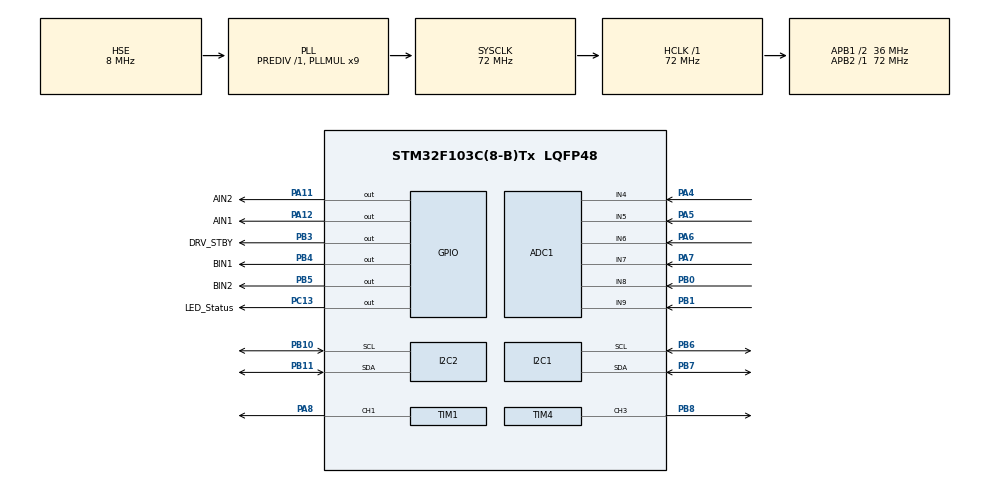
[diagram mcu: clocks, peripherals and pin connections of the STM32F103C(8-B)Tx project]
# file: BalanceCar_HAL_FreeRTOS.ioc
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ADC1.Channel-0\#ChannelRegularConversion=ADC_CHANNEL_6
ADC1.NbrOfConversionFlag=1
ADC1.Rank-0\#ChannelRegularConversion=1
ADC1.SamplingTime-0\#ChannelRegularConversion=ADC_SAMPLETIME_1CYCLE_5
ADC1.master=1
Dma.Request0=TIM1_CH1
Dma.TIM1_CH1.0.Direction=DMA_MEMORY_TO_PERIPH
Dma.TIM1_CH1.0.Instance=DMA1_Channel2
Dma.TIM1_CH1.0.MemDataAlignment=DMA_MDATAALIGN_HALFWORD
Dma.TIM1_CH1.0.MemInc=DMA_MINC_ENABLE
Dma.TIM1_CH1.0.Mode=DMA_CIRCULAR
Dma.TIM1_CH1.0.PeriphDataAlignment=DMA_PDATAALIGN_HALFWORD
Dma.TIM1_CH1.0.PeriphInc=DMA_PINC_DISABLE
Dma.TIM1_CH1.0.Priority=DMA_PRIORITY_LOW
Mcu.Family=STM32F1
Mcu.Name=STM32F103C(8-B)Tx
Mcu.Package=LQFP48
NVIC.DMA1_Channel2_IRQn=true\:0\:0\:false\:false\:true\:false\:true\:true
NVIC.PriorityGroup=NVIC_PRIORITYGROUP_4
NVIC.TIM3_IRQn=true\:15\:0\:false\:false\:true\:false\:true\:true
NVIC.TimeBase=TIM3_IRQn
NVIC.TimeBaseIP=TIM3
PA10.Signal=S_TIM1_CH3
PA11.GPIO_Label=AIN2
PA11.Signal=GPIO_Output
PA12.GPIO_Label=AIN1
PA12.Signal=GPIO_Output
PA13.Mode=Serial_Wire
PA13.Signal=SYS_JTMS-SWDIO
PA14.Mode=Serial_Wire
PA14.Signal=SYS_JTCK-SWCLK
PA4.Signal=ADCx_IN4
PA5.Signal=ADCx_IN5
PA6.Signal=ADCx_IN6
PA7.Signal=ADCx_IN7
PA8.Signal=S_TIM1_CH1
PB0.Signal=ADCx_IN8
PB1.Signal=ADCx_IN9
PB10.Mode=I2C
PB10.Signal=I2C2_SCL
PB11.Mode=I2C
PB11.Signal=I2C2_SDA
PB3.GPIO_Label=DRV_STBY
PB3.Signal=GPIO_Output
PB4.GPIO_Label=BIN1
PB4.Signal=GPIO_Output
PB5.GPIO_Label=BIN2
PB5.Signal=GPIO_Output
PB6.Mode=I2C
PB6.Signal=I2C1_SCL
PB7.Mode=I2C
PB7.Signal=I2C1_SDA
PB8.Signal=S_TIM4_CH3
PB9.Signal=S_TIM4_CH4
PC13-TAMPER-RTC.GPIO_Label=LED_Status
PC13-TAMPER-RTC.Signal=GPIO_Output
PD0-OSC_IN.Mode=HSE-External-Oscillator
PD0-OSC_IN.Signal=RCC_OSC_IN
PD1-OSC_OUT.Mode=HSE-External-Oscillator
PD1-OSC_OUT.Signal=RCC_OSC_OUT
ProjectManager.HeapSize=0x200
ProjectManager.StackSize=0x400
ProjectManager.TargetToolchain=MDK-ARM V5
RCC.ADCPresc=RCC_ADCPCLK2_DIV6
RCC.AHBFreq_Value=72000000
RCC.APB1CLKDivider=RCC_HCLK_DIV2
RCC.APB1Freq_Value=36000000
RCC.APB1TimFreq_Value=72000000
RCC.APB2Freq_Value=72000000
RCC.APB2TimFreq_Value=72000000
RCC.HCLKFreq_Value=72000000
RCC.PLLMUL=RCC_PLL_MUL9
RCC.PLLSourceVirtual=RCC_PLLSOURCE_HSE
RCC.SYSCLKFreq_VALUE=72000000
RCC.SYSCLKSource=RCC_SYSCLKSOURCE_PLLCLK
RCC.USBFreq_Value=72000000
SH.ADCx_IN4.0=ADC1_IN4,IN4
SH.ADCx_IN5.0=ADC1_IN5,IN5
SH.ADCx_IN6.0=ADC1_IN6,IN6
SH.ADCx_IN7.0=ADC1_IN7,IN7
SH.ADCx_IN8.0=ADC1_IN8,IN8
SH.ADCx_IN9.0=ADC1_IN9,IN9
SH.S_TIM1_CH1.0=TIM1_CH1,PWM Generation1 CH1
SH.S_TIM1_CH3.0=TIM1_CH3
SH.S_TIM4_CH3.0=TIM4_CH3,PWM Generation3 CH3
SH.S_TIM4_CH4.0=TIM4_CH4
TIM1.Channel-PWM\ Generation1\ CH1=TIM_CHANNEL_1
TIM1.OCFastMode_PWM-PWM\ Generation1\ CH1=TIM_OCFAST_DISABLE
TIM1.Period=89
TIM1.Prescaler=0
TIM4.Channel-PWM\ Generation3\ CH3=TIM_CHANNEL_3
TIM4.Period=99
TIM4.Prescaler=71
VP_SYS_VS_tim3.Mode=TIM3
VP_TIM4_VS_ClockSourceINT.Mode=Internal
board=custom

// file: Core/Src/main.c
/* USER CODE BEGIN Header */
/**
  ******************************************************************************
  * @file           : main.c
  * @brief          : Main program body
  ******************************************************************************
  * @attention
  *
  * Copyright (c) 2023 STMicroelectronics.
  * All rights reserved.
  *
  * This software is licensed under terms that can be found in the LICENSE file
  * in the root directory of this software component.
  * If no LICENSE file comes with this software, it is provided AS-IS.
  *
  ******************************************************************************
  */
/* USER CODE END Header */
#include "main.h"
#include "adc.h"
#include "dma.h"
#include "i2c.h"
#include "tim.h"
#include "gpio.h"

/* USER CODE BEGIN Includes */
#include "driver_led.h"
/* USER CODE END Includes */

/* USER CODE BEGIN PD */
#define LEFT_FORWARD_PORT   GPIOA
#define LEFT_FORWARD_PIN    GPIO_PIN_12

#define LEFT_REVERSE_PORT   GPIOA
#define LEFT_REVERSE_PIN    GPIO_PIN_11

#define RIGHT_FORWARD_PORT  GPIOB
#define RIGHT_FORWARD_PIN   GPIO_PIN_4

#define RIGHT_REVERSE_PORT  GPIOB
#define RIGHT_REVERSE_PIN   GPIO_PIN_5

#define MotorEnable_GPIO_Port GPIOB
#define MotorEnable_Pin GPIO_PIN_3
/* USER CODE END PD */

/* USER CODE BEGIN PM */
#define LeftForward()       HAL_GPIO_WritePin(LEFT_FORWARD_PORT, LEFT_FORWARD_PIN, GPIO_PIN_SET); \
                            HAL_GPIO_WritePin(LEFT_REVERSE_PORT, LEFT_REVERSE_PIN, GPIO_PIN_RESET);

#define LeftReverse()       HAL_GPIO_WritePin(LEFT_FORWARD_PORT, LEFT_FORWARD_PIN, GPIO_PIN_RESET); \
                            HAL_GPIO_WritePin(LEFT_REVERSE_PORT, LEFT_REVERSE_PIN, GPIO_PIN_SET);

#define RightForward()      HAL_GPIO_WritePin(RIGHT_FORWARD_PORT, RIGHT_FORWARD_PIN, GPIO_PIN_SET); \
                            HAL_GPIO_WritePin(RIGHT_REVERSE_PORT, RIGHT_REVERSE_PIN, GPIO_PIN_RESET);

#define RightReverse()      HAL_GPIO_WritePin(RIGHT_FORWARD_PORT, RIGHT_FORWARD_PIN, GPIO_PIN_RESET); \
                            HAL_GPIO_WritePin(RIGHT_REVERSE_PORT, RIGHT_REVERSE_PIN, GPIO_PIN_SET);

#define SetPWM1DutyCycle()  __HAL_TIM_SET_COMPARE(&htim1, TIM_CHANNEL_3, pwm1_duty_cycle)

#define SetPWM2DutyCycle()  __HAL_TIM_SET_COMPARE(&htim4, TIM_CHANNEL_3, pwm2_duty_cycle)

#define MotorEnable()       HAL_GPIO_WritePin(MotorEnable_GPIO_Port, MotorEnable_Pin, GPIO_PIN_SET);

/* USER CODE END PM */

/* USER CODE BEGIN PV */
uint16_t pwm1_duty_cycle = 10;
uint16_t pwm2_duty_cycle = 35;
/* USER CODE END PV */

void SystemClock_Config(void);

int main(void)
{

  /* MCU Configuration--------------------------------------------------------*/

  /* Reset of all peripherals, Initializes the Flash interface and the Systick. */
  HAL_Init();

  /* Configure the system clock */
  SystemClock_Config();

  /* Initialize all configured peripherals */
  MX_GPIO_Init();
  MX_DMA_Init();
  MX_I2C1_Init();
  MX_ADC1_Init();
  MX_I2C2_Init();
  MX_TIM1_Init();
  MX_TIM4_Init();
  /* USER CODE BEGIN 2 */
  HAL_TIM_PWM_Start(&htim1,TIM_CHANNEL_3);
  HAL_TIM_PWM_Start(&htim4,TIM_CHANNEL_3);
  /* USER CODE END 2 */

  /* Infinite loop */
  /* USER CODE BEGIN WHILE */
  while (1)
  {
//      MotorEnable();
//      LeftForward();
//      SetPWM1DutyCycle();
//      RightReverse();
//      SetPWM2DutyCycle();
//
//      HAL_Delay(100);

    WS2812_Number_4(0x180000,0x001800,0x000018,0);
    HAL_Delay(500);
    WS2812_Number_4(0,0x180000,0x001800,0x000018);
    HAL_Delay(500);
    WS2812_Number_4(0x000018,0,0x180000,0x001800);
    HAL_Delay(500);
    WS2812_Number_4(0x001800,0x000018,0,0x180000);
    HAL_Delay(500);
    /* USER CODE END WHILE */

  }
}

void SystemClock_Config(void)
{
  RCC_OscInitTypeDef RCC_OscInitStruct = {0};
  RCC_ClkInitTypeDef RCC_ClkInitStruct = {0};
  RCC_PeriphCLKInitTypeDef PeriphClkInit = {0};

  /** Initializes the RCC Oscillators according to the specified parameters
  * in the RCC_OscInitTypeDef structure.
  */
  RCC_OscInitStruct.OscillatorType = RCC_OSCILLATORTYPE_HSE;
  RCC_OscInitStruct.HSEState = RCC_HSE_ON;
  RCC_OscInitStruct.HSEPredivValue = RCC_HSE_PREDIV_DIV1;
  RCC_OscInitStruct.HSIState = RCC_HSI_ON;
  RCC_OscInitStruct.PLL.PLLState = RCC_PLL_ON;
  RCC_OscInitStruct.PLL.PLLSource = RCC_PLLSOURCE_HSE;
  RCC_OscInitStruct.PLL.PLLMUL = RCC_PLL_MUL9;
  if (HAL_RCC_OscConfig(&RCC_OscInitStruct) != HAL_OK)
  {
    Error_Handler();
  }

  /** Initializes the CPU, AHB and APB buses clocks
  */
  RCC_ClkInitStruct.ClockType = RCC_CLOCKTYPE_HCLK|RCC_CLOCKTYPE_SYSCLK
                              |RCC_CLOCKTYPE_PCLK1|RCC_CLOCKTYPE_PCLK2;
  RCC_ClkInitStruct.SYSCLKSource = RCC_SYSCLKSOURCE_PLLCLK;
  RCC_ClkInitStruct.AHBCLKDivider = RCC_SYSCLK_DIV1;
  RCC_ClkInitStruct.APB1CLKDivider = RCC_HCLK_DIV2;
  RCC_ClkInitStruct.APB2CLKDivider = RCC_HCLK_DIV1;

  if (HAL_RCC_ClockConfig(&RCC_ClkInitStruct, FLASH_LATENCY_2) != HAL_OK)
  {
    Error_Handler();
  }
  PeriphClkInit.PeriphClockSelection = RCC_PERIPHCLK_ADC;
  PeriphClkInit.AdcClockSelection = RCC_ADCPCLK2_DIV6;
  if (HAL_RCCEx_PeriphCLKConfig(&PeriphClkInit) != HAL_OK)
  {
    Error_Handler();
  }
}

void HAL_TIM_PeriodElapsedCallback(TIM_HandleTypeDef *htim)
{
  if (htim->Instance == TIM3) {
    HAL_IncTick();
  }
}

void Error_Handler(void)
{
  __disable_irq();
  while (1)
  {
  }
}
